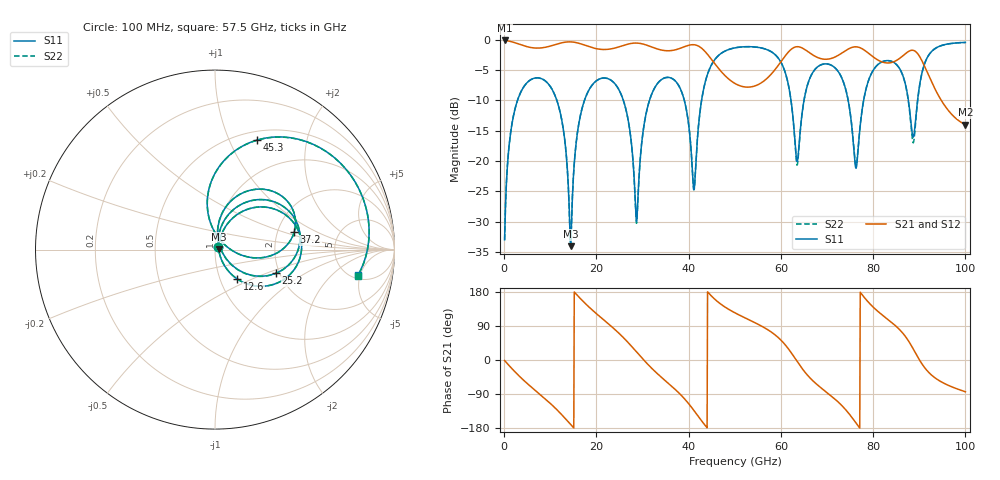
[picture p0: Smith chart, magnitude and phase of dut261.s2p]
! Touchstone file exported from HFSS 2026.1.0
!  File:  C:/ffzhzh/LocalFiles/Ansys_Project_Files/temp_train_TSV_RDL_261_1783673386_29156.aedt
!  Generated:  04:58:38 PM Jul 10, 2026
!  Design:  TSV_RDL
!  Project:  temp_train_TSV_RDL_261_1783673386_29156
! Variables:
!  h_bsmrdl = 3.99um
!  h_ox = 20um
!  h_rdl = 5um
!  h_sub = 70.02um
!  h_tmrdl = 3.28um
!  h_tsv = 70.02um
!  h_via = 3um
!  l_bsmrdl = 680.04um
!  l_sub = 3969.86um
!  l_tmrdl = 348.55um
!  m_sub = 200um
!  pitch = 49.21um
!  r_tsv = 7.4um
!  s_tmrdl = 10um
!  w_bsmrdl = 29.94um
!  w_sub = 500um
!  w_tmrdl = 15.24um
!  x_tsv_center1 = 356.17um
!  x_tsv_center2 = 1066.15um
!  x_tsv_center3 = 1429.94um
!  x_tsv_center4 = 2139.92um
!  x_tsv_center5 = 2503.71um
!  x_tsv_center6 = 3213.69um
# GHz S MA R 50.000000
! Terminal data exported
! Port[1] = TM_RDL1_1_T1
! Port[2] = TM_RDL5_1_T1
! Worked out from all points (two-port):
!   1000 points, 100 MHz to 100 GHz, reference 50 ohm
!   highest |S21| = -0.16 dB at 100 MHz (marker M1); lowest = -14.0 dB at 100 GHz (marker M2)
!   |S21| within 3 dB of the highest: start of sweep to 44.83 GHz; 70.74 GHz to 80.55 GHz (9.804 GHz wide, 13 % of centre)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
!   lowest |S11| = -34.0 dB at 14.4 GHz (marker M3), VSWR 1.04, Z = 52 + j0.201 ohm
!   |S11| at or under -10 dB: 11.41 GHz to 17.43 GHz (6.015 GHz wide, 41.7 % of centre); 25.83 GHz to 31.52 GHz (5.683 GHz wide, 19.8 % of centre); 39.05 GHz to 42.81 GHz (3.754 GHz wide, 9.17 % of centre)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
!   |S22| runs from -34.0 to -0.5 dB; largest |S21 - S12| = 4.2e-13
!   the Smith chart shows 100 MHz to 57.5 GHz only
!   S11 on the Smith chart (normalised r, x): 100 MHz: 1.04, +0.03; 12.6 GHz: 1.21, -0.41; 25.2 GHz: 1.92, -0.58; 37.2 GHz: 2.47, +0.60; 45.3 GHz: 0.60, +1.27; 57.5 GHz: 5.60, -4.61
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0.1  0.0224 36.2  0.9822 -1.4  0.9822 -1.4  0.0224 36.2
! Gamma 0 0 0 0
! Port Impedance 50 0 50 0
1.5  0.181 62.5  0.9611 -20.4  0.9611 -20.4  0.181 62.5
4.1  0.3992 34.6  0.8922 -52.1  0.8922 -52.1  0.3992 34.6
12.6  0.2061 -52.8  0.9413 -145.9  0.9413 -145.9  0.2062 -52.9
14.4  0.01985 5.6  0.9562 -169.8  0.9562 -169.8  0.01997 5.5
16.8  0.2622 63.4  0.9163 158.7  0.9163 158.7  0.2622 63.3
25.2  0.3648 -21.1  0.8772 67.0  0.8772 67.0  0.3647 -21.3
28.7  0.0318 18.5  0.9349 21.4  0.9349 21.4  0.03061 18.3
33.4  0.4411 49.1  0.8317 -38.1  0.8317 -38.1  0.4411 49.1
37.2  0.4516 12.4  0.8238 -79.0  0.8238 -79.0  0.4516 12.3
41.2  0.05805 51.9  0.9055 -134.1  0.9055 -134.1  0.05804 51.8
45.3  0.6522 69.2  0.6593 164.5  0.6593 164.5  0.6522 69.1
50.1  0.8546 32.3  0.4331 124.1  0.4331 124.1  0.8545 32.1
57.5  0.809 -10.1  0.4995 77.2  0.4995 77.2  0.8088 -10.5
63.5  0.09871 -5.0  0.8726 -3.5  0.8726 -3.5  0.09224 -5.2
66.7  0.5186 31.8  0.7552 -52.1  0.7552 -52.1  0.518 32.3
72.8  0.5169 -20.5  0.7554 -115.2  0.7554 -115.2  0.5173 -20.2
76.5  0.09667 35.7  0.8692 -169.7  0.8692 -169.7  0.1008 34.2
83.4  0.6695 15.5  0.6413 105.1  0.6413 105.1  0.6691 14.8
89.4  0.261 63.9  0.7843 13.8  0.7843 13.8  0.2512 66.7
92.1  0.7497 46.4  0.4992 -33.3  0.4992 -33.3  0.7477 47.2
100  0.946 4.4  0.1993 -83.9  0.1993 -83.9  0.9458 4.6
